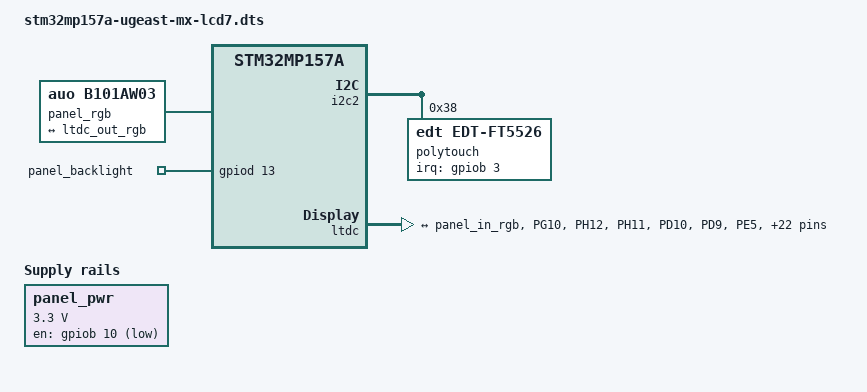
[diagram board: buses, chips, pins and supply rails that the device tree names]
#include "stm32mp157a-ugeast-mx.dts"


/ {
	panel_rgb: panel-rgb {
		compatible = "auo,b101aw03";
		status = "okay";		
		port {
			panel_in_rgb: endpoint {
				remote-endpoint = <&ltdc_out_rgb>;
			};
		};
	};

	panel_pwr: regulator-panel_pwr {
		compatible = "regulator-fixed";
		regulator-name = "panel_pwr";
		regulator-min-microvolt = <3300000>;
		regulator-max-microvolt = <3300000>;
		gpio = <&gpiob 10 0>;
		regulator-always-on;
	};	

	gpio_export {
		compatible = "gpio-export";
		#size-cells = <0>;
		gpio-overvoltage {
			gpio-export,name = "panel_backlight";
			gpio-export,output = <1>;
			gpios = <&gpiod 13 GPIO_ACTIVE_HIGH>;
		};
	};
};

&i2c2 {
	polytouch: edt-ft5x26@38 {
		compatible = "edt,edt-ft5526";
		reg = <0x38>;
		pinctrl-names = "default";		
		pinctrl-0 = <&pinctrl_edt_ft5x26>;
		interrupt-parent = <&gpiob>;
		interrupts = <3 0>;	
	};
};

&pinctrl {
	pinctrl_edt_ft5x26: pinctrl_edt_ft5x26-0 {
		pins {
			pinmux = <STM32_PINMUX('B', 3, GPIO)>;
		};
	};

	lcd_pins_ugea: lcd-0 {
			pins {
				pinmux = <STM32_PINMUX('G', 10, AF14)>, /* LTDC_B2 */
					<STM32_PINMUX('H', 12, AF14)>, /* LTDC_R6 */
					<STM32_PINMUX('H', 11, AF14)>, /* LTDC_R5 */
					<STM32_PINMUX('D', 10, AF14)>, /* LTDC_B3 */
					<STM32_PINMUX('D', 9, AF14)>, /* LTDC_B0 */
					<STM32_PINMUX('E', 5, AF14)>, /* LTDC_G0 */
					<STM32_PINMUX('E', 6, AF14)>, /* LTDC_G1 */
					<STM32_PINMUX('E', 13, AF14)>, /* LTDC_DE */
					<STM32_PINMUX('E', 15, AF14)>, /* LTDC_R7 */
					<STM32_PINMUX('G', 7, AF14)>, /* LTDC_CLK */
					<STM32_PINMUX('G', 12, AF14)>, /* LTDC_B1 */
					<STM32_PINMUX('H', 2, AF14)>, /* LTDC_R0 */
					<STM32_PINMUX('H', 3, AF14)>, /* LTDC_R1 */
					<STM32_PINMUX('H', 8, AF14)>, /* LTDC_R2 */
					<STM32_PINMUX('H', 9, AF14)>, /* LTDC_R3 */
					<STM32_PINMUX('H', 10, AF14)>, /* LTDC_R4 */
					<STM32_PINMUX('H', 13, AF14)>, /* LTDC_G2 */
					<STM32_PINMUX('H', 14, AF14)>, /* LTDC_G3 */
					<STM32_PINMUX('H', 15, AF14)>, /* LTDC_G4 */
					<STM32_PINMUX('I', 0, AF14)>, /* LTDC_G5 */
					<STM32_PINMUX('I', 1, AF14)>, /* LTDC_G6 */
					<STM32_PINMUX('I', 2, AF14)>, /* LTDC_G7 */
					<STM32_PINMUX('I', 4, AF14)>, /* LTDC_B4 */
					<STM32_PINMUX('I', 5, AF14)>, /* LTDC_B5 */
					<STM32_PINMUX('B', 8, AF14)>, /* LTDC_B6 */
					<STM32_PINMUX('I', 7, AF14)>, /* LTDC_B7 */
					<STM32_PINMUX('I', 9, AF14)>, /* LTDC_VSYNC */
					<STM32_PINMUX('I', 10, AF14)>; /* LTDC_HSYNC */
					bias-disable;
					drive-push-pull;
					slew-rate = <3>;
			};
		};
};

&ltdc {
	status = "okay";
	pinctrl-0 = <&lcd_pins_ugea>;
	pinctrl-names = "default";
	
	powerdown-gpios = <&gpiof 2 1>;
	
	port{
		#address-cells = <1>;
		#size-cells = <0>;
		
		ltdc_out_rgb: endpoint@0 {
			reg = <0>;
			remote-endpoint = <&panel_in_rgb>;
		};
	};
};
